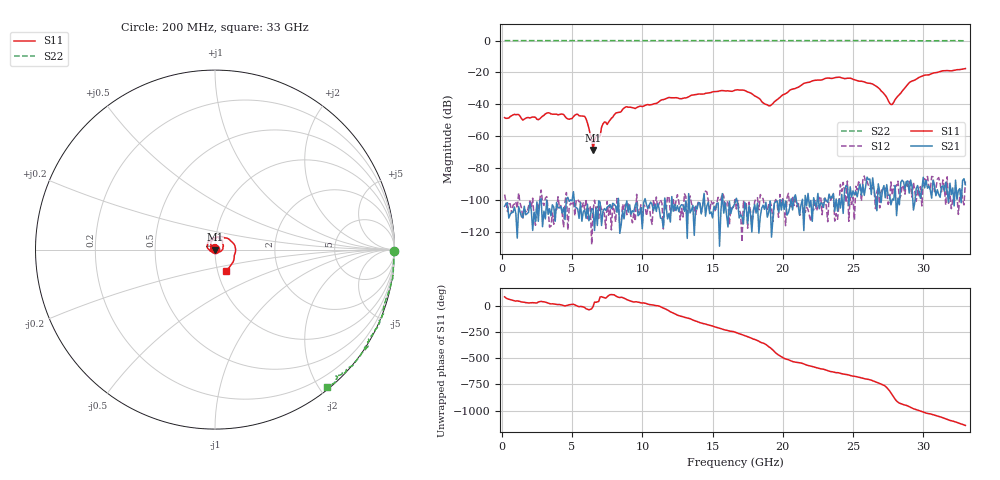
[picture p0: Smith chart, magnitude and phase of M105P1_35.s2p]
# GHZ S RI R 50
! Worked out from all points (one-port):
!   329 points, 200 MHz to 33 GHz, reference 50 ohm
!   lowest |S11| = -68.5 dB at 6.5 GHz (marker M1), VSWR 1.00, Z = 50 - j0.00547 ohm
!   |S11| at or under -10 dB: start of sweep to end of sweep
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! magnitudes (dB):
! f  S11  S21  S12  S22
! 200 MHz  -48.3  -103.9  -96.5  0.0
! 3.3 GHz  -45.3  -108.9  -106.0  0.0
! 5.7 GHz  -47.3  -113.2  -104.4  0.0
! 6 GHz  -49.0  -111.4  -99.4  0.0
! 6.4 GHz  -61.6  -105.3  -127.9  0.0
! 6.5 GHz  -68.5  -105.9  -106.1  0.0
! 6.6 GHz  -62.6  -119.0  -100.1  0.0
! 7 GHz  -59.8  -101.2  -102.6  0.0
! 7.2 GHz  -52.2  -107.1  -105.9  0.0
! 7.5 GHz  -52.6  -104.5  -100.8  0.0
! 8.1 GHz  -45.5  -103.7  -113.8  0.0
! 11.2 GHz  -38.2  -105.3  -102.0  -0.1
! 16.6 GHz  -31.1  -101.8  -99.7  0.0
! 17.7 GHz  -32.8  -108.9  -107.0  0.0
! 19.1 GHz  -40.8  -100.6  -100.7  0.0
! 20.5 GHz  -31.1  -104.3  -103.8  -0.1
! 22.1 GHz  -25.3  -113.3  -106.3  0.0
! 24 GHz  -22.9  -99.3  -103.2  0.0
! 26.3 GHz  -27.0  -96.4  -92.6  0.0
! 27.6 GHz  -39.1  -97.1  -100.6  0.0
! 29.8 GHz  -22.7  -98.8  -91.5  -0.1
! 33 GHz  -17.5  -90.3  -88.3  -0.1
